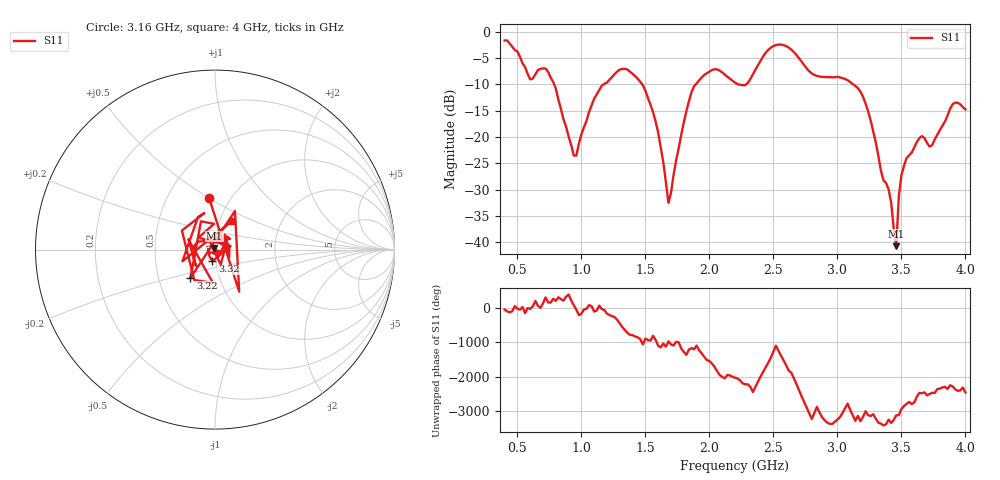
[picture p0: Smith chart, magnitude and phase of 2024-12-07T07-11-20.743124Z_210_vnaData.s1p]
!Created with skrf (http://scikit-rf.org).
# Hz S RI R 50.0
!freq ReS11 ImS11
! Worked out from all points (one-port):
!   181 points, 400 MHz to 4 GHz, reference 50 ohm
!   lowest |S11| = -40.7 dB at 3.46 GHz (marker M1), VSWR 1.02, Z = 49.7 + j0.852 ohm
!   |S11| at or under -10 dB: 787.4 MHz to 1.172 GHz (384.8 MHz wide, 39.3 % of centre); 1.476 GHz to 1.893 GHz (417.1 MHz wide, 24.8 % of centre); 3.124 GHz to end of sweep (the widest 3 of 4)
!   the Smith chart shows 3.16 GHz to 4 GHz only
!   S11 on the Smith chart (normalised r, x): 3.16 GHz: 0.79, +0.50; 3.22 GHz: 0.73, -0.24; 3.32 GHz: 0.96, -0.13; 4 GHz: 1.14, +0.37
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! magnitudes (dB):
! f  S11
! 400 MHz  -1.7
! 600 MHz  -9.0
! 740 MHz  -7.6
! 860 MHz  -16.6
! 960 MHz  -23.5
! 1.1 GHz  -12.7
! 1.3 GHz  -7.2
! 1.5 GHz  -11.2
! 1.6 GHz  -19.2
! 1.68 GHz  -32.5
! 1.76 GHz  -22.1
! 1.92 GHz  -9.2
! 2.2 GHz  -9.6
! 2.5 GHz  -2.7
! 2.66 GHz  -3.9
! 3.1 GHz  -9.6
! 3.16 GHz  -10.7
! 3.22 GHz  -13.6
! 3.32 GHz  -23.5
! 3.4 GHz  -29.9
! 3.46 GHz  -40.7
! 3.48 GHz  -31.2
! 3.5 GHz  -27.3
! 3.56 GHz  -23.5
! 3.66 GHz  -19.8
! 3.74 GHz  -21.6
! 3.9 GHz  -13.8
! 4 GHz  -14.7
